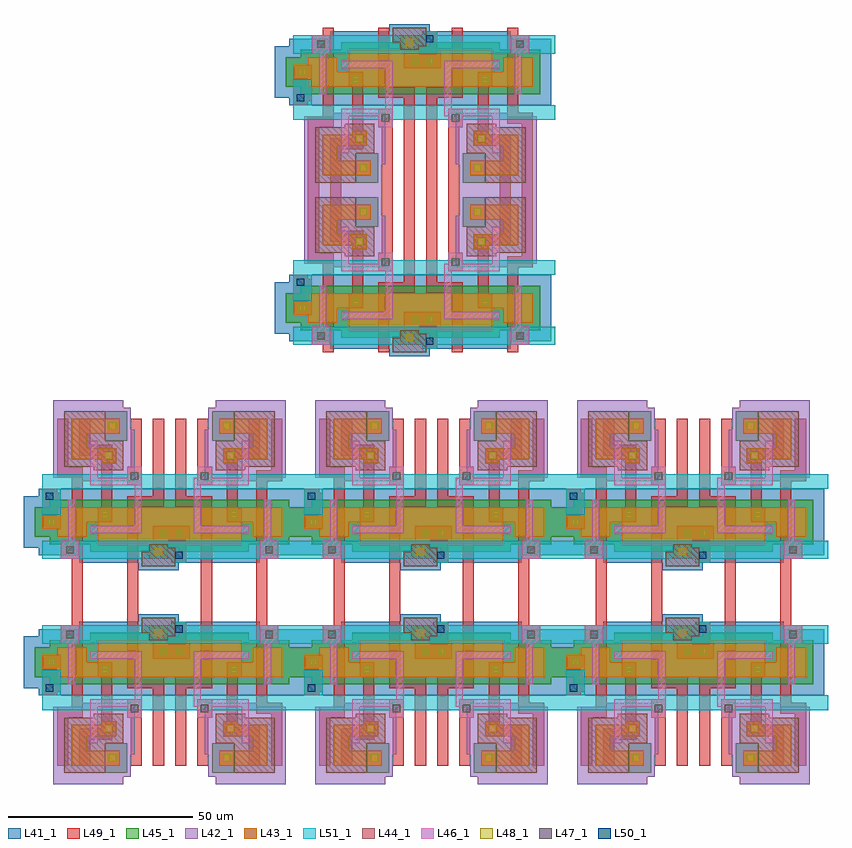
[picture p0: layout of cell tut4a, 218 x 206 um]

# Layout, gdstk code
import gdstk
lib = gdstk.Library(unit=1e-6, precision=1e-09)
def R(c, l, rs):  # rectangles x0, y0, x1, y1
    for r in rs: c.add(gdstk.rectangle(r[:2], r[2:], *l))
def A(c, l, x, y, w, h, nx, ny, dx, dy):  # array of equal rectangles
    R(c, l, [(x+i*dx, y+j*dy, x+i*dx+w, y+j*dy+h) for i in range(nx) for j in range(ny)])
L41_1 = (41, 1)
L42_1 = (42, 1)
L43_1 = (43, 1)
L44_1 = (44, 1)
L45_1 = (45, 1)
L46_1 = (46, 1)
L47_1 = (47, 1)
L48_1 = (48, 1)
L49_1 = (49, 1)
L50_1 = (50, 1)
L51_1 = (51, 1)

tut4x = lib.new_cell('tut4x')
R(tut4x, L41_1, [(10,71,21,73), (-6,73,43,75), (-17,75,54,77), (-21,77,54,91), (-17,91,54,93)])
R(tut4x, L42_1, [(-5,95,9,96), (28,95,42,96), (-13,96,9,109), (28,96,50,109), (-13,109,8,115), (29,109,50,115), (-13,115,6,117), (31,115,50,117)])
R(tut4x, L43_1, [(13,74,18,78), (-1,78,18,79), (23,78,38,79), (-1,79,38,84), (-12,80,-4,82), (41,80,49,84), (-16,82,-4,84), (-16,84,49,86), (-12,86,49,88), (0,100,4,101), (33,100,37,101), (-8,101,4,104), (33,101,45,104), (-8,104,-4,108), (41,104,45,108), (-8,108,5,112), (32,108,45,112)])
R(tut4x, L44_1, [(11,72,20,76), (13,76,20,77), (13,77,18,78), (-2,98,6,99), (31,98,39,99), (-10,99,6,106), (31,99,47,106), (-10,106,1,114), (36,106,47,114)])
R(tut4x, L45_1, [(-3,76,13,78), (21,76,40,77), (18,77,40,78), (-14,78,51,80), (-18,80,51,88), (-14,88,51,90), (1,106,7,114), (30,106,36,114)])
R(tut4x, L46_1, [(-11,74,-6,79), (43,74,48,79), (-9,79,-7,90), (44,79,46,90), (-3,81,11,83), (25,81,40,83), (9,83,11,94), (25,83,27,94), (-3,94,11,96), (25,94,40,96), (-3,96,-1,106), (7,96,11,99), (26,96,30,99), (38,96,40,106)])
R(tut4x, L47_1, [(-9.5,75.5,-7.5,77.5), (44.5,75.5,46.5,77.5), (8,95.5,10,97.5), (27,95.5,29,97.5)])
R(tut4x, L48_1, [(14.5,75,16.5,77), (16,80,18,82), (20,80,22,82), (-14.5,83,-12.5,85), (0,85,2,87), (35,85,37,87), (1,101,3,103), (34,101,36,103), (2,109,4,111), (33,109,35,111)])
R(tut4x, L49_1, [(-8,72,-5,74), (7,72,10,88), (27,72,30,88), (42,72,45,74), (19,73,23,74), (-11,74,-5,79), (13,74,23,78), (42,74,48,79), (14,78,24,83), (-8,79,-5,96), (42,79,45,95), (-16,82,-11,92), (-1,84,3,88), (34,84,38,88), (0,88,3,100), (7,88,17,91), (20,88,30,91), (34,88,37,100), (14,91,17,112), (20,91,23,112), (-16,92,-12,93), (7,94,11,99), (26,94,30,99), (42,95,49,98), (-12,96,-5,99), (46,98,49,112), (-12,99,-9,112), (8,99,11,112), (26,99,29,112), (0,100,4,102), (33,100,37,101), (33,101,43,104), (-6,102,4,104), (-6,104,3,105), (40,104,43,112), (-6,105,-3,112), (1,108,5,112), (32,108,36,112)])
R(tut4x, L50_1, [(20,74,22,76), (-15,90,-13,92)])
R(tut4x, L51_1, [(19,73,23,74), (-16,74,55,79), (-16,86,-11,93), (-16,93,55,97)])
tut4x.add(gdstk.Label('accA0', (-6.5,72), layer=49, texttype=1))
tut4x.add(gdstk.Label('accB0', (8.5,72), layer=49, texttype=1))
tut4x.add(gdstk.Label('accB1', (28.5,72), layer=49, texttype=1))
tut4x.add(gdstk.Label('accA1', (43.5,72), layer=49, texttype=1))
tut4x.add(gdstk.Label('GND_', (55,76.5), layer=51, texttype=1))
tut4x.add(gdstk.Label('busA0', (55,95), layer=51, texttype=1))

tut4y = lib.new_cell('tut4y')
R(tut4y, L45_1, [(64,5,66,13), (135,5,137,13)])
R(tut4y, L49_1, [(5,-10,8,-3), (20,-10,23,-3), (40,-10,43,-3), (55,-10,58,-3), (76,-10,79,-3), (91,-10,94,-3), (111,-10,114,-3), (126,-10,129,-3), (147,-10,150,-3), (162,-10,165,-3), (182,-10,185,-3), (197,-10,200,-3)])
r = gdstk.Reference(tut4x, (13,-75)); r.repetition = gdstk.Repetition(3, 1, v1=(71,0), v2=(0,39)); tut4y.add(r)

tut4a = lib.new_cell('tut4a')
R(tut4a, L42_1, [(19,39,21,41), (42,39,44,41)])
A(tut4a, L49_1, 21, 36, 3, 8, 4, 1, 6, 0)
R(tut4a, L49_1, [(1,36,4,44), (7,36,10,44), (53,36,56,44), (59,36,62,44)])
tut4a.add(gdstk.Reference(tut4x, (13,156), x_reflection=True))
tut4a.add(gdstk.Reference(tut4x, (13,-76)))
tut4a.add(gdstk.Reference(tut4y, (-68,-79), x_reflection=True))
tut4a.add(gdstk.Reference(tut4y, (-68,-59)))

lib.write_gds('tut4a.gds')
